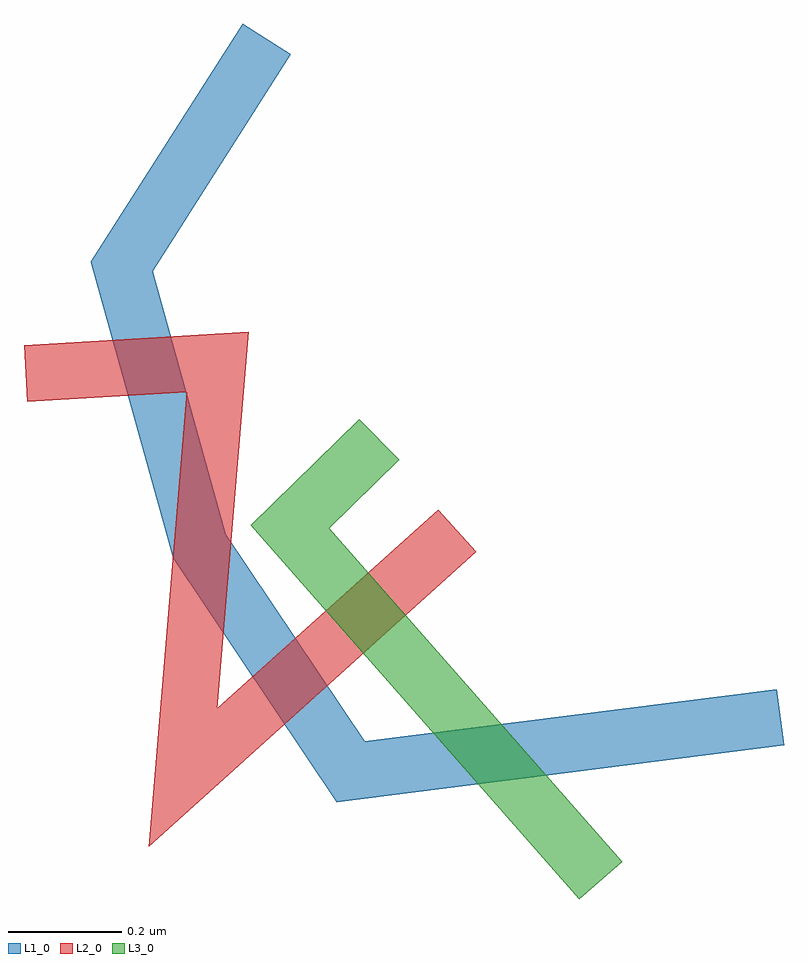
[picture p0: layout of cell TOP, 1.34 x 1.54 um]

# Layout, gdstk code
import gdstk
lib = gdstk.Library(unit=1e-6, precision=1e-09)
L1_0 = (1, 0)
L2_0 = (2, 0)
L3_0 = (3, 0)

top = lib.new_cell('TOP')
top.add(gdstk.FlexPath([(0.395,-0.439),(-0.361,-0.535),(-0.627,-0.138),(-0.764,0.354),(-0.509,0.754)], 0.1, ends="flush", simple_path=True, layer=1, datatype=0))  # L1_0
top.add(gdstk.FlexPath([(-0.174,-0.111),(-0.656,-0.545),(-0.595,0.186),(-0.933,0.166)], 0.1, ends="flush", simple_path=True, layer=2, datatype=0))  # L2_0
top.add(gdstk.FlexPath([(0.079,-0.726),(-0.468,-0.104),(-0.311,0.05)], 0.1, ends="flush", simple_path=True, layer=3, datatype=0))  # L3_0

lib.write_gds('TOP.gds')
